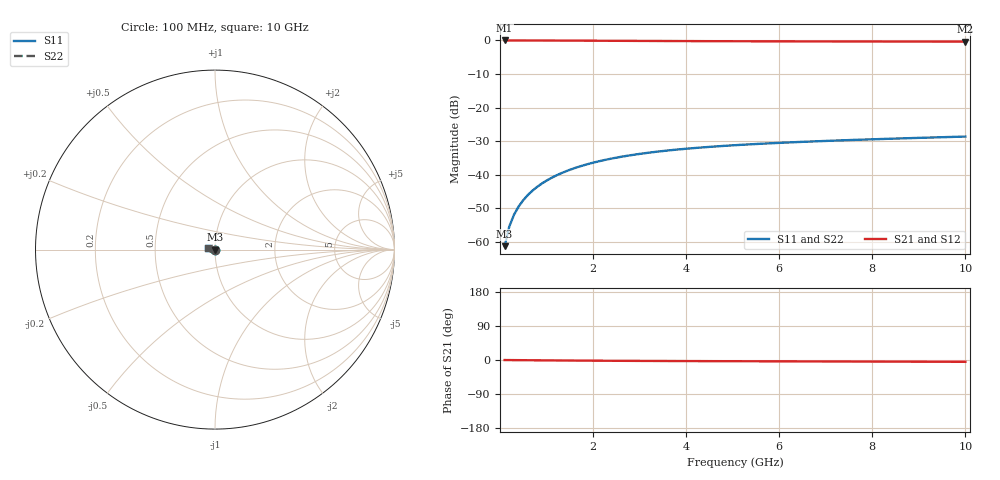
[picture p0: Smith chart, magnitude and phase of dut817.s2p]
! Touchstone file exported from HFSS 2024.1.0
!  File:  C:/UserFiles/LocalFiles/RDL_TSV_Batchsim/temp_TSV1_817_1779877788.aedt
!  Generated:  06:34:40 PM May 27, 2026
!  Design:  TSV1
!  Project:  temp_TSV1_817_1779877788
!  Setup:  Setup1
!  Solution:  Sweep
! Variables:
!  dtsv = 7.52um
!  hbump = 3um
!  htsv = 73.61um
!  lrdl = 252.1521522um
!  p = 40
!  p1 = 45.4um
!  t = 500um
!  trdl = 3um
!  wrdl = 24.89489489um
# GHz S MA R 50.000000
! Terminal data exported
! Port[1] = TSV22_T1
! Port[2] = TSV22_T2
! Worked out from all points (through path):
!   100 points, 100 MHz to 10 GHz, reference 50 ohm
!   highest |S21| = 0.00 dB at 100 MHz (marker M1); lowest = -0.3 dB at 10 GHz (marker M2)
!   lowest |S11| = -61.3 dB at 100 MHz (marker M3), VSWR 1.00, Z = 50 - j0.0837 ohm
!   |S11| at or under -10 dB: start of sweep to end of sweep
!   |S22| runs from -61.3 to -28.6 dB; largest |S21 - S12| = 1.3e-14
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0.1  0.000864 -75.5  0.9997 -0.1  0.9997 -0.1  0.000864 -75.5
! Gamma 0 0 0 0
! Port Impedance 50 0 50 0
0.2  0.001692 -85.2  0.9996 -0.2  0.9996 -0.2  0.001692 -85.2
0.3  0.002525 -89.8  0.9995 -0.3  0.9995 -0.3  0.002525 -89.8
0.4  0.003355 -93.0  0.9993 -0.4  0.9993 -0.4  0.003355 -93.0
0.5  0.00418 -95.7  0.999 -0.5  0.999 -0.5  0.00418 -95.7
0.6  0.004998 -98.0  0.9988 -0.6  0.9988 -0.6  0.004998 -98.0
0.7  0.005808 -100.2  0.9984 -0.7  0.9984 -0.7  0.005808 -100.2
0.8  0.006608 -102.3  0.998 -0.8  0.998 -0.8  0.006607 -102.3
0.9  0.007396 -104.2  0.9976 -0.9  0.9976 -0.9  0.007396 -104.2
1.1  0.008936 -108.0  0.9967 -1.1  0.9967 -1.1  0.008936 -108.0
1.4  0.01114 -113.4  0.995 -1.3  0.995 -1.3  0.01114 -113.4
1.6  0.01253 -116.8  0.9937 -1.5  0.9937 -1.5  0.01253 -116.8
1.8  0.01386 -120.1  0.9924 -1.6  0.9924 -1.6  0.01386 -120.1
2.1  0.01572 -124.8  0.9904 -1.9  0.9904 -1.9  0.01572 -124.8
2.5  0.01797 -130.6  0.9876 -2.1  0.9876 -2.1  0.01797 -130.6
2.9  0.01997 -136.1  0.9849 -2.3  0.9849 -2.3  0.01997 -136.1
3.4  0.02216 -142.3  0.9817 -2.6  0.9817 -2.6  0.02216 -142.3
4.2  0.02506 -151.2  0.9771 -2.9  0.9771 -2.9  0.02506 -151.2
5.1  0.02768 -159.8  0.9729 -3.2  0.9729 -3.2  0.02768 -159.8
6.7  0.0313 -172.4  0.9674 -3.8  0.9674 -3.8  0.0313 -172.4
8.4  0.03441 176.8  0.9634 -4.3  0.9634 -4.3  0.03441 176.8
10  0.03705 168.3  0.9609 -4.8  0.9609 -4.8  0.03705 168.3
